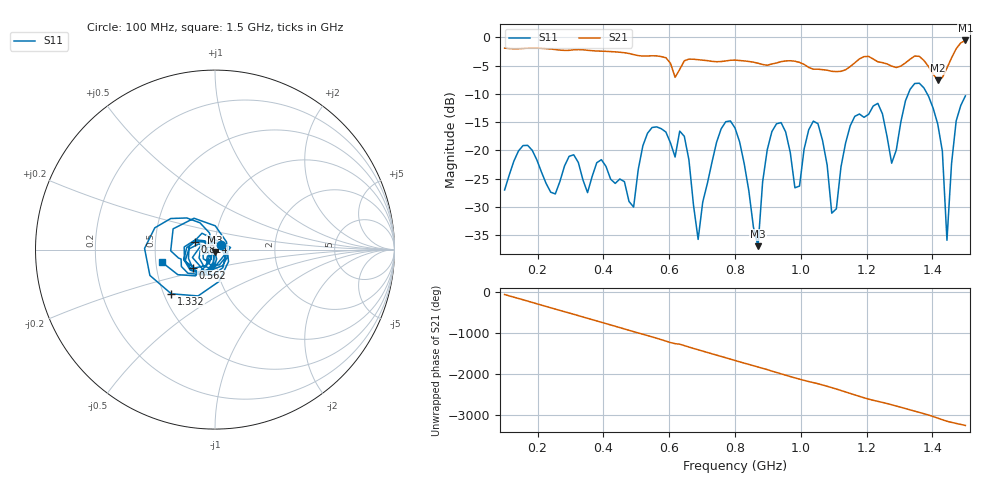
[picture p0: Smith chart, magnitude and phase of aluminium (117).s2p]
! NanoVNA-App
! Date: 2025-09-25 14:56:11
! Start: 100MHz Stop: 1,5GHz Points: 101
! S-Parameter data: F S11 S21 S12 S22
# Hz S RI R 50
!  Frequency  S11_Real  S11_Imag  S21_Real  S21_Imag  S12_Real  S12_Imag  S22_Real  S22_Imag
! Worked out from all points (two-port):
!   101 points, 100 MHz to 1.5 GHz, reference 50 ohm
!   highest |S21| = -0.56 dB at 1.5 GHz (marker M1); lowest = -7.6 dB at 1.416 GHz (marker M2)
!   |S21| within 3 dB of the highest: start of sweep to 586.3 MHz; 1.459 GHz to end of sweep (the widest 2 of 4)
!   lowest |S11| = -36.9 dB at 870 MHz (marker M3), VSWR 1.03, Z = 49.9 - j1.42 ohm
!   |S11| at or under -10 dB: start of sweep to 1.326 GHz; 1.384 GHz to end of sweep
!   S12 and S22 are empty: the file has one direction only
!   S11 on the Smith chart (normalised r, x): 100 MHz: 1.07, +0.06; 562 MHz: 0.76, -0.16; 814 MHz: 0.80, +0.07; 1.332 GHz: 0.55, -0.31; 1.5 GHz: 0.54, -0.08
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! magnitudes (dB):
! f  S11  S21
! 100 MHz  -27.0  -1.9
! 338 MHz  -25.2  -2.2
! 492 MHz  -30.0  -3.1
! 562 MHz  -15.8  -3.3
! 576 MHz  -16.2  -3.4
! 646 MHz  -17.5  -4.2
! 688 MHz  -35.7  -4.0
! 800 MHz  -16.0  -4.0
! 814 MHz  -18.5  -4.1
! 870 MHz  -36.9  -4.6
! 912 MHz  -16.7  -4.7
! 982 MHz  -26.6  -4.2
! 1.038 GHz  -14.8  -5.6
! 1.094 GHz  -31.1  -6.0
! 1.164 GHz  -14.0  -4.5
! 1.234 GHz  -11.7  -4.3
! 1.276 GHz  -22.3  -5.1
! 1.332 GHz  -9.2  -3.9
! 1.416 GHz  -15.3  -7.6
! 1.444 GHz  -35.9  -5.4
! 1.472 GHz  -14.8  -2.0
! 1.5 GHz  -10.4  -0.6
